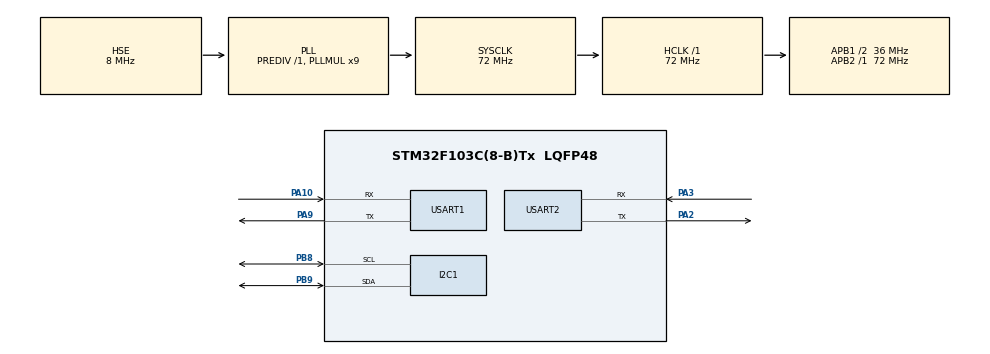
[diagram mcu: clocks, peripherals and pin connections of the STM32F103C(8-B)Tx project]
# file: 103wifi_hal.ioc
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Dma.Request0=USART2_RX
Dma.USART2_RX.0.Direction=DMA_PERIPH_TO_MEMORY
Dma.USART2_RX.0.Instance=DMA1_Channel6
Dma.USART2_RX.0.MemDataAlignment=DMA_MDATAALIGN_BYTE
Dma.USART2_RX.0.MemInc=DMA_MINC_ENABLE
Dma.USART2_RX.0.Mode=DMA_NORMAL
Dma.USART2_RX.0.PeriphDataAlignment=DMA_PDATAALIGN_BYTE
Dma.USART2_RX.0.PeriphInc=DMA_PINC_DISABLE
Dma.USART2_RX.0.Priority=DMA_PRIORITY_LOW
Mcu.Family=STM32F1
Mcu.Name=STM32F103C(8-B)Tx
Mcu.Package=LQFP48
NVIC.DMA1_Channel6_IRQn=true\:0\:0\:false\:false\:true\:false\:true\:true
NVIC.PriorityGroup=NVIC_PRIORITYGROUP_4
NVIC.USART2_IRQn=true\:0\:0\:false\:false\:true\:true\:true\:true
PA10.Mode=Asynchronous
PA10.Signal=USART1_RX
PA13.Mode=Serial_Wire
PA13.Signal=SYS_JTMS-SWDIO
PA14.Mode=Serial_Wire
PA14.Signal=SYS_JTCK-SWCLK
PA2.Mode=Asynchronous
PA2.Signal=USART2_TX
PA3.Mode=Asynchronous
PA3.Signal=USART2_RX
PA9.Mode=Asynchronous
PA9.Signal=USART1_TX
PB8.Mode=I2C
PB8.Signal=I2C1_SCL
PB9.Mode=I2C
PB9.Signal=I2C1_SDA
PD0-OSC_IN.Mode=HSE-External-Oscillator
PD0-OSC_IN.Signal=RCC_OSC_IN
PD1-OSC_OUT.Mode=HSE-External-Oscillator
PD1-OSC_OUT.Signal=RCC_OSC_OUT
ProjectManager.HeapSize=0x200
ProjectManager.StackSize=0x400
ProjectManager.TargetToolchain=MDK-ARM V5.32
RCC.AHBFreq_Value=72000000
RCC.APB1CLKDivider=RCC_HCLK_DIV2
RCC.APB1Freq_Value=36000000
RCC.APB1TimFreq_Value=72000000
RCC.APB2Freq_Value=72000000
RCC.APB2TimFreq_Value=72000000
RCC.HCLKFreq_Value=72000000
RCC.PLLMUL=RCC_PLL_MUL9
RCC.PLLSourceVirtual=RCC_PLLSOURCE_HSE
RCC.SYSCLKFreq_VALUE=72000000
RCC.SYSCLKSource=RCC_SYSCLKSOURCE_PLLCLK
RCC.USBFreq_Value=72000000
USART1.VirtualMode=VM_ASYNC
USART2.VirtualMode=VM_ASYNC
board=custom

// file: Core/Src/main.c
/* USER CODE BEGIN Header */
/**
  ******************************************************************************
  * @file           : main.c
  * @brief          : Main program body
  ******************************************************************************
  * @attention
  *
  * Copyright (c) 2023 STMicroelectronics.
  * All rights reserved.
  *
  * This software is licensed under terms that can be found in the LICENSE file
  * in the root directory of this software component.
  * If no LICENSE file comes with this software, it is provided AS-IS.
  *
  ******************************************************************************
  */
/* USER CODE END Header */
#include "main.h"
#include "dma.h"
#include "i2c.h"
#include "usart.h"
#include "gpio.h"

/* USER CODE BEGIN Includes */
#include "wifi.h"
#include "onenet.h"
#include "oled.h"
/* USER CODE END Includes */

void SystemClock_Config(void);

/* USER CODE BEGIN 0 */
uint8_t net_connect = 0;
/* USER CODE END 0 */

int main(void)
{
  /* USER CODE BEGIN 1 */
    uint16_t timeCount;
    unsigned char *dataPtr = NULL;
  /* USER CODE END 1 */

  /* MCU Configuration--------------------------------------------------------*/

  /* Reset of all peripherals, Initializes the Flash interface and the Systick. */
  HAL_Init();

  /* Configure the system clock */
  SystemClock_Config();

  /* Initialize all configured peripherals */
  MX_GPIO_Init();
  MX_DMA_Init();
  MX_USART1_UART_Init();
  MX_USART2_UART_Init();
  MX_I2C1_Init();
  /* USER CODE BEGIN 2 */
  OLED_Init();
  /* USER CODE END 2 */

  /* Infinite loop */
  /* USER CODE BEGIN WHILE */
  OLED_ShowString(0,0,"OLEDEJ",16);

    while (1)
    {
        if(net_connect == 1)   // 连接成功
        {
            if(++timeCount >= 100)		//时间间隔5s 发送
            {
                HAL_Delay(100);
                printf( "开始发送数据\r\n");//通过串口1发送提示信息（要开始发送数据了）
                OneNet_SendData();//发送数据给onenet
                printf("发送数据结束\n");
                timeCount = 0;
                ESP8266_Clear();
            }
//            ESP8266_GetIPD(0);//获取平台返回的数据
            dataPtr = ESP8266_GetIPD(0);//获取平台返回的数据
            if(dataPtr != NULL)//如果返回数据不为空
                OneNet_RevPro(dataPtr);//平台返回数据检测

            HAL_Delay(100);
        }

    /* USER CODE END WHILE */

    /* USER CODE BEGIN 3 */
        else
        {
            printf("开始连接服务器\r\n");
            ESP8266_Init();					//初始化ESP8266

            printf("8266初始化成功\n");

            while(OneNet_DevLink())			//接入OneNET

            HAL_Delay(500);
            net_connect = 1;

            printf("接入onenet成功");
        }
    }
  /* USER CODE END 3 */
}

void SystemClock_Config(void)
{
  RCC_OscInitTypeDef RCC_OscInitStruct = {0};
  RCC_ClkInitTypeDef RCC_ClkInitStruct = {0};

  /** Initializes the RCC Oscillators according to the specified parameters
  * in the RCC_OscInitTypeDef structure.
  */
  RCC_OscInitStruct.OscillatorType = RCC_OSCILLATORTYPE_HSE;
  RCC_OscInitStruct.HSEState = RCC_HSE_ON;
  RCC_OscInitStruct.HSEPredivValue = RCC_HSE_PREDIV_DIV1;
  RCC_OscInitStruct.HSIState = RCC_HSI_ON;
  RCC_OscInitStruct.PLL.PLLState = RCC_PLL_ON;
  RCC_OscInitStruct.PLL.PLLSource = RCC_PLLSOURCE_HSE;
  RCC_OscInitStruct.PLL.PLLMUL = RCC_PLL_MUL9;
  if (HAL_RCC_OscConfig(&RCC_OscInitStruct) != HAL_OK)
  {
    Error_Handler();
  }

  /** Initializes the CPU, AHB and APB buses clocks
  */
  RCC_ClkInitStruct.ClockType = RCC_CLOCKTYPE_HCLK|RCC_CLOCKTYPE_SYSCLK
                              |RCC_CLOCKTYPE_PCLK1|RCC_CLOCKTYPE_PCLK2;
  RCC_ClkInitStruct.SYSCLKSource = RCC_SYSCLKSOURCE_PLLCLK;
  RCC_ClkInitStruct.AHBCLKDivider = RCC_SYSCLK_DIV1;
  RCC_ClkInitStruct.APB1CLKDivider = RCC_HCLK_DIV2;
  RCC_ClkInitStruct.APB2CLKDivider = RCC_HCLK_DIV1;

  if (HAL_RCC_ClockConfig(&RCC_ClkInitStruct, FLASH_LATENCY_2) != HAL_OK)
  {
    Error_Handler();
  }
}

void Error_Handler(void)
{
    __disable_irq();
    while (1)
    {
    }
}
